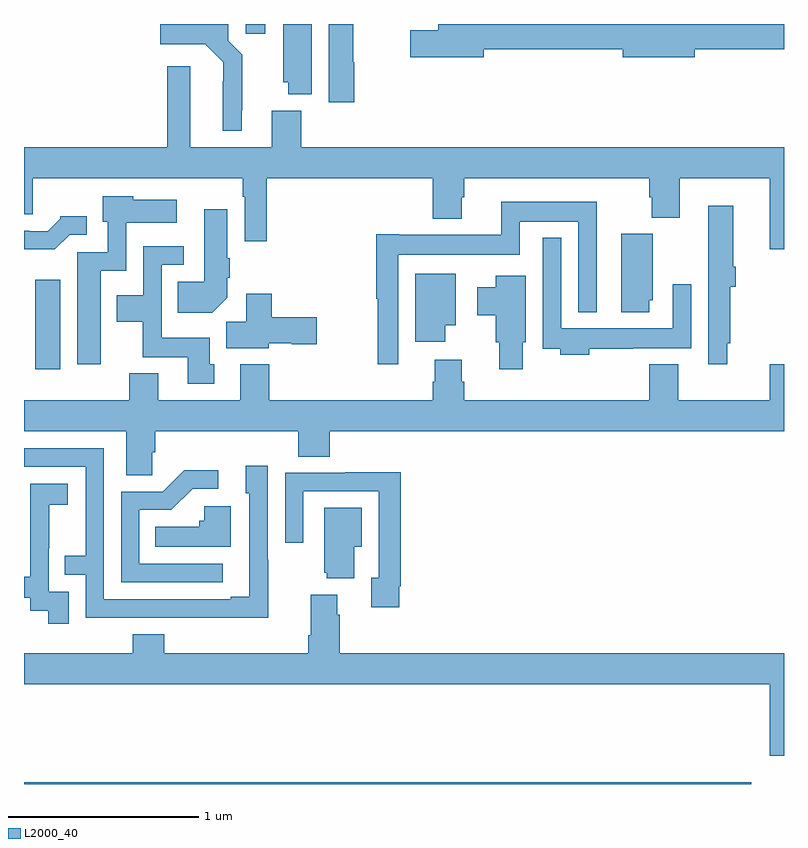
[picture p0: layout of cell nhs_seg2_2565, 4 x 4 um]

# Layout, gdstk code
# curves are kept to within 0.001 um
import gdstk
lib = gdstk.Library(unit=1e-6, precision=1e-09)
def R(c, l, rs):  # rectangles x0, y0, x1, y1
    for r in rs: c.add(gdstk.rectangle(r[:2], r[2:], *l))
def P(c, l, *ps):  # polygons
    for p in ps: c.add(gdstk.Polygon(p, *l))
L2000_40 = (2000, 40)

nhs_seg2_2565 = lib.new_cell('nhs_seg2_2565')
R(nhs_seg2_2565, L2000_40, [(245,625.8,248.828,625.808), (245.06,627.984,245.191,628.453), (246.167,629.748,246.271,629.8)])
P(nhs_seg2_2565, L2000_40, [(246.514,629.8),(246.365,629.8),(246.365,629.493),(246.392,629.493),(246.392,629.429),(246.514,629.429)],
  [(246.145,629.347),(246.149,629.347),(246.149,629.638),(246.075,629.712),(246.075,629.8),(245.718,629.8),(245.718,629.693),(245.955,629.693),(246.048,629.6),(246.047,629.237),(246.145,629.237)],
  [(246.737,629.6),(246.732,629.6),(246.732,629.8),(246.605,629.8),(246.605,629.388),(246.737,629.388)],
  [(247.42,629.668),(248.15,629.668),(248.15,629.626),(248.53,629.626),(248.53,629.668),(249,629.668),(249,629.8),(247.181,629.8),(247.181,629.768),(247.032,629.768),(247.032,629.626),(247.42,629.626)],
  [(249,629.152),(246.458,629.152),(246.458,629.344),(246.305,629.344),(246.305,629.152),(245.875,629.152),(245.875,629.578),(245.753,629.578),(245.753,629.152),(245,629.152),(245,628.798),(245.047,628.798),(245.047,628.988),(246.15,628.988),(246.15,628.892),(246.162,628.892),(246.162,628.656),(246.278,628.656),(246.278,628.988),(247.151,628.988),(247.151,628.775),(247.303,628.775),(247.303,628.887),(247.316,628.887),(247.316,628.988),(248.291,628.988),(248.291,628.889),(248.303,628.889),(248.303,628.78),(248.451,628.78),(248.451,628.988),(248.924,628.988),(248.924,628.614),(249,628.614)],
  [(245.404,628.502),(245.538,628.502),(245.538,628.754),(245.803,628.754),(245.803,628.876),(245.574,628.876),(245.574,628.894),(245.414,628.894),(245.414,628.758),(245.442,628.758),(245.442,628.599),(245.279,628.599),(245.279,628.008),(245.404,628.008)],
  [(246.969,628.586),(247.608,628.586),(247.608,628.76),(247.917,628.76),(247.917,628.283),(248.014,628.283),(248.014,628.864),(247.511,628.864),(247.511,628.69),(246.976,628.69),(246.976,628.693),(246.853,628.693),(246.853,628.353),(246.861,628.353),(246.861,628.008),(246.969,628.008)],
  [(248.7,628.12),(248.717,628.12),(248.717,628.418),(248.747,628.418),(248.747,628.522),(248.734,628.522),(248.734,628.843),(248.6,628.843),(248.6,628.522),(248.601,628.522),(248.601,628.008),(248.7,628.008)],
  [(246.07,628.358),(246.07,628.465),(246.083,628.465),(246.083,628.568),(246.07,628.568),(246.07,628.825),(245.948,628.825),(245.948,628.444),(245.809,628.444),(245.809,628.28),(245.992,628.28)],
  [(245.241,628.692),(245.329,628.692),(245.329,628.789),(245.19,628.789),(245.19,628.774),(245.126,628.71),(245.027,628.71),(245.027,628.713),(245,628.713),(245,628.614),(245.163,628.614)],
  [(248.29,628.347),(248.308,628.347),(248.308,628.695),(248.144,628.695),(248.144,628.284),(248.29,628.284)],
  [(247.976,628.092),(248.207,628.092),(248.207,628.094),(248.511,628.094),(248.511,628.429),(248.415,628.429),(248.415,628.198),(247.827,628.198),(247.827,628.675),(247.731,628.675),(247.731,628.092),(247.823,628.092),(247.823,628.058),(247.976,628.058)],
  [(246.001,628.008),(245.977,628.008),(245.977,628.15),(245.724,628.15),(245.724,628.533),(245.842,628.533),(245.842,628.629),(245.628,628.629),(245.628,628.372),(245.489,628.372),(245.489,628.232),(245.626,628.232),(245.626,628.046),(245.861,628.046),(245.861,627.906),(246.001,627.906)],
  [(247.216,628.214),(247.273,628.214),(247.273,628.486),(247.058,628.486),(247.058,628.128),(247.216,628.128)],
  [(247.624,628.125),(247.642,628.125),(247.642,628.474),(247.484,628.474),(247.484,628.414),(247.385,628.414),(247.385,628.267),(247.484,628.267),(247.484,628.125),(247.502,628.125),(247.502,627.984),(247.624,627.984)],
  [(246.288,628.121),(246.408,628.121),(246.408,628.114),(246.541,628.114),(246.541,628.256),(246.305,628.256),(246.305,628.381),(246.17,628.381),(246.17,628.232),(246.065,628.232),(246.065,628.094),(246.288,628.094)],
  [(245.676,627.547),(245.69,627.547),(245.69,627.656),(246.443,627.656),(246.443,627.523),(246.608,627.523),(246.608,627.656),(249,627.656),(249,628.009),(248.924,628.009),(248.924,627.82),(248.443,627.82),(248.443,628.009),(248.291,628.009),(248.291,627.82),(247.316,627.82),(247.316,627.918),(247.303,627.918),(247.303,628.033),(247.163,628.033),(247.163,627.918),(247.151,627.918),(247.151,627.82),(246.29,627.82),(246.29,628.009),(246.137,628.009),(246.137,627.82),(245.707,627.82),(245.707,627.961),(245.555,627.961),(245.555,627.82),(245,627.82),(245,627.656),(245.537,627.656),(245.537,627.424),(245.676,627.424)],
  [(246.285,626.981),(246.282,626.981),(246.282,627.475),(246.167,627.475),(246.167,627.33),(246.186,627.33),(246.186,626.785),(246.089,626.785),(246.089,626.772),(245.421,626.772),(245.421,627.567),(245,627.567),(245,627.471),(245.325,627.471),(245.325,627.002),(245.215,627.002),(245.215,626.901),(245.325,626.901),(245.325,626.676),(245.821,626.676),(245.821,626.675),(246.285,626.675)],
  [(246.046,626.958),(245.607,626.958),(245.607,627.243),(245.776,627.243),(245.887,627.354),(246.022,627.354),(246.022,627.452),(245.843,627.452),(245.73,627.339),(245.511,627.339),(245.511,626.862),(246.046,626.862)],
  [(246.976,626.842),(246.983,626.842),(246.983,627.44),(246.691,627.44),(246.691,627.438),(246.375,627.438),(246.375,627.069),(246.471,627.069),(246.471,627.342),(246.867,627.342),(246.867,626.886),(246.827,626.886),(246.827,626.73),(246.976,626.73)],
  [(245.235,626.811),(245.13,626.811),(245.13,627.041),(245.132,627.041),(245.132,627.269),(245.23,627.269),(245.23,627.379),(245.032,627.379),(245.032,627.173),(245.033,627.173),(245.033,626.89),(245,626.89),(245,626.781),(245.034,626.781),(245.034,626.713),(245.127,626.713),(245.127,626.643),(245.235,626.643)],
  [(246.088,627.262),(245.949,627.262),(245.949,627.186),(245.923,627.186),(245.923,627.154),(245.692,627.154),(245.692,627.05),(246.088,627.05)],
  [(246.739,627.05),(246.778,627.05),(246.778,627.253),(246.581,627.253),(246.581,626.913),(246.593,626.913),(246.593,626.882),(246.739,626.882)],
  [(249,626.488),(246.662,626.488),(246.662,626.69),(246.649,626.69),(246.649,626.797),(246.509,626.797),(246.509,626.584),(246.497,626.584),(246.497,626.488),(245.738,626.488),(245.738,626.587),(245.573,626.587),(245.573,626.488),(245,626.488),(245,626.324),(248.924,626.324),(248.924,625.95),(249,625.95)])

lib.write_gds('nhs_seg2_2565.gds')
